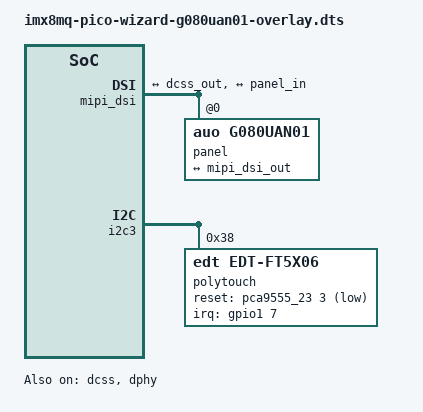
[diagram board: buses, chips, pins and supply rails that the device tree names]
/dts-v1/;
/plugin/;

#include "../imx8mq-pinfunc.h"
#include <dt-bindings/clock/imx8mq-clock.h>
#include <dt-bindings/interrupt-controller/irq.h>
#include <dt-bindings/gpio/gpio.h>

/ {

	fragment@0 {
		target-path = "/";
		__overlay__ {
			sound-hdmi {
				status = "disabled";
			};
		};
	};

	fragment@1 {
		target-path = "/";
		__overlay__ {
			backlight_mipi {
				status = "okay";
			};
		};
	};

	fragment@2 {
		target = <&hdmi>;
		__overlay__ {
			status = "disabled";
		};
	};

	fragment@3 {
		target = <&lcdif>;
		__overlay__ {
			status = "disabled";
		};
	};

	fragment@4 {
		target = <&dcss>;
		__overlay__ {
			status = "okay";
			clocks = <&clk IMX8MQ_CLK_DISP_APB_ROOT>,
				<&clk IMX8MQ_CLK_DISP_AXI_ROOT>,
				<&clk IMX8MQ_CLK_DISP_RTRM_ROOT>,
				<&clk IMX8MQ_CLK_DC_PIXEL>,
				<&clk IMX8MQ_CLK_DISP_DTRC>;
			clock-names = "apb", "axi", "rtrm", "pix", "dtrc";
			assigned-clocks = <&clk IMX8MQ_CLK_DC_PIXEL>,
				<&clk IMX8MQ_VIDEO_PLL1_BYPASS>,
				<&clk IMX8MQ_VIDEO_PLL1_REF_SEL>,
				<&clk IMX8MQ_CLK_DISP_AXI>,
				<&clk IMX8MQ_CLK_DISP_RTRM>;
			assigned-clock-parents = <&clk IMX8MQ_VIDEO_PLL1_OUT>,
				<&clk IMX8MQ_VIDEO_PLL1>,
				<&clk IMX8MQ_CLK_27M>,
				<&clk IMX8MQ_SYS1_PLL_800M>,
				<&clk IMX8MQ_SYS1_PLL_800M>;
			assigned-clock-rates = <600000000>, <0>, <0>,
				<800000000>,
				<400000000>;

			port@0 {
				dcss_out: endpoint {
				remote-endpoint = <&mipi_dsi_in>;
				};
			};
		};
	};

	fragment@5 {
		target = <&mipi_dsi>;
		__overlay__ {
			#address-cells = <1>;
			#size-cells = <0>;
			status = "okay";
			fsl,clock-drop-level = <2>;

			panel@0 {
				compatible = "auo,g080uan01";
				reg = <0>;
				dsi,flags = <5>;
				dsi,format = <0>;
				dsi,lanes = <4>;
				status = "okay";

				port {
					panel_in: endpoint {
						remote-endpoint = <&mipi_dsi_out>;
					};
				};
			};

			ports {
				#address-cells = <1>;
				#size-cells = <0>;

				port@0 {
					reg = <0>;
					mipi_dsi_in: endpoint {
						remote-endpoint = <&dcss_out>;
					};
				};

				port@1 {
					reg = <1>;
					mipi_dsi_out: endpoint {
						remote-endpoint = <&panel_in>;
					};
				};
			};
		};
	};

	fragment@6 {
		target = <&dphy>;
		__overlay__ {
			status = "okay";
		};
	};

	fragment@7 {
		target = <&i2c3>;
		__overlay__ {
			#address-cells = <1>;
			#size-cells = <0>;
			status = "okay";

			polytouch: edt-ft5x06@38 {
				compatible = "edt,edt-ft5x06";
				reg = <0x38>;
				pinctrl-names = "default";
				pinctrl-0 = <&pinctrl_touch_irq>;
				interrupt-parent = <&gpio1>;
				interrupts = <7 IRQ_TYPE_EDGE_FALLING>;
				reset-gpios = <&pca9555_23 3 GPIO_ACTIVE_LOW>;
				touchscreen-size-x = <1200>;
				touchscreen-size-y = <1920>;
			};
		};
	};
};
